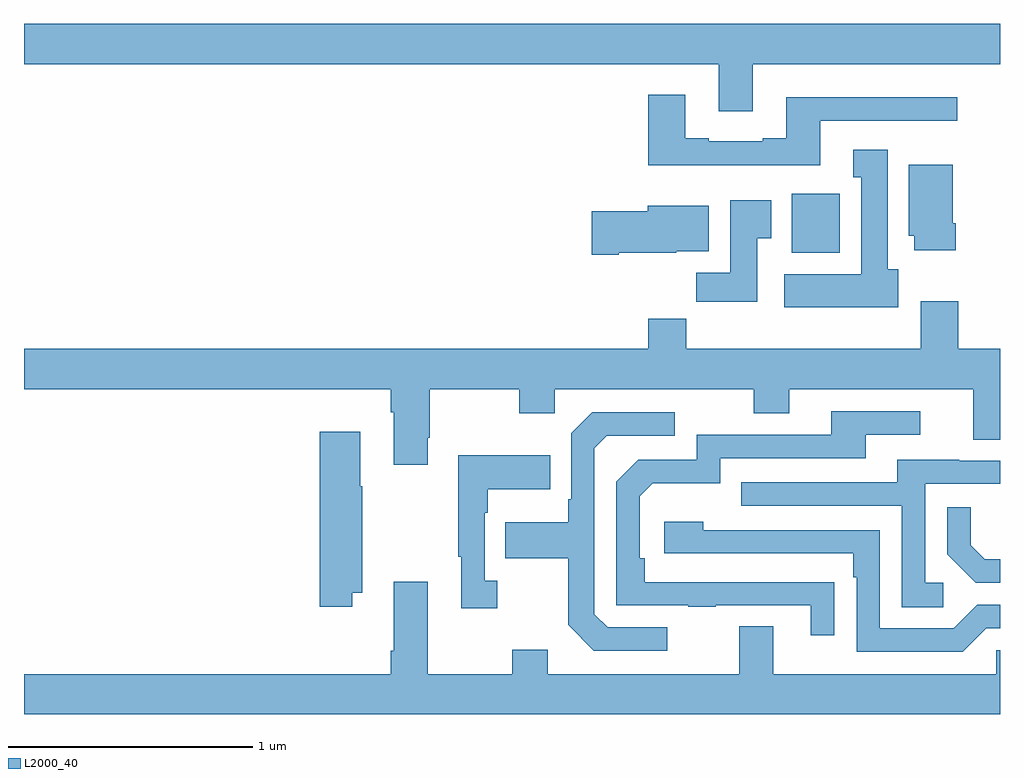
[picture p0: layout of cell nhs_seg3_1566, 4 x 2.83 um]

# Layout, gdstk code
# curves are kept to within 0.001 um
import gdstk
lib = gdstk.Library(unit=1e-6, precision=1e-09)
def R(c, l, rs):  # rectangles x0, y0, x1, y1
    for r in rs: c.add(gdstk.rectangle(r[:2], r[2:], *l))
def P(c, l, *ps):  # polygons
    for p in ps: c.add(gdstk.Polygon(p, *l))
L2000_40 = (2000, 40)

nhs_seg3_1566 = lib.new_cell('nhs_seg3_1566')
R(nhs_seg3_1566, L2000_40, [(194.147,734.774,194.344,735.016)])
P(nhs_seg3_1566, L2000_40, [(193.987,735.548),(195,735.548),(195,735.712),(191,735.712),(191,735.548),(193.847,735.548),(193.847,735.354),(193.987,735.354)],
  [(194.263,735.315),(194.824,735.315),(194.824,735.412),(194.123,735.412),(194.123,735.244),(194.027,735.244),(194.027,735.231),(193.807,735.231),(193.807,735.244),(193.711,735.244),(193.711,735.421),(193.559,735.421),(193.559,735.134),(194.263,735.134)],
  [(194.584,734.706),(194.539,734.706),(194.539,735.196),(194.399,735.196),(194.399,735.083),(194.432,735.083),(194.432,734.686),(194.115,734.686),(194.115,734.552),(194.584,734.552)],
  [(194.819,734.896),(194.806,734.896),(194.806,735.136),(194.627,735.136),(194.627,734.844),(194.648,734.844),(194.648,734.784),(194.819,734.784)],
  [(194.005,734.833),(194.062,734.833),(194.062,734.989),(193.895,734.989),(193.895,734.692),(193.756,734.692),(193.756,734.574),(194.005,734.574)],
  [(193.438,734.774),(193.674,734.774),(193.674,734.78),(193.807,734.78),(193.807,734.968),(193.556,734.968),(193.556,734.945),(193.326,734.945),(193.326,734.767),(193.438,734.767)],
  [(191,734.216),(192.503,734.216),(192.503,734.12),(192.515,734.12),(192.515,733.905),(192.655,733.905),(192.655,734.017),(192.663,734.017),(192.663,734.216),(193.03,734.216),(193.03,734.117),(193.176,734.117),(193.176,734.216),(193.99,734.216),(193.99,734.117),(194.137,734.117),(194.137,734.216),(194.891,734.216),(194.891,734.008),(195,734.008),(195,734.38),(194.828,734.38),(194.828,734.575),(194.675,734.575),(194.675,734.38),(193.715,734.38),(193.715,734.504),(193.559,734.504),(193.559,734.38),(191,734.38)],
  [(194.321,733.424),(193.544,733.425),(193.544,733.522),(193.524,733.522),(193.524,733.776),(193.577,733.829),(193.854,733.829),(193.854,733.932),(194.449,733.932),(194.449,734.028),(194.674,734.028),(194.674,734.124),(194.309,734.124),(194.309,734.028),(193.758,734.028),(193.758,733.926),(193.518,733.926),(193.428,733.836),(193.428,733.329),(193.723,733.329),(193.723,733.324),(193.835,733.324),(193.835,733.329),(194.225,733.329),(194.225,733.206),(194.321,733.206)],
  [(193.636,733.239),(193.392,733.239),(193.338,733.293),(193.338,733.974),(193.389,734.025),(193.666,734.025),(193.666,734.121),(193.329,734.121),(193.242,734.034),(193.242,733.765),(193.23,733.765),(193.23,733.669),(192.973,733.669),(192.973,733.522),(193.23,733.522),(193.23,733.249),(193.335,733.143),(193.636,733.143)],
  [(192.346,733.382),(192.387,733.382),(192.387,733.817),(192.379,733.817),(192.379,734.041),(192.212,734.041),(192.212,733.323),(192.346,733.323)],
  [(192.94,733.43),(192.888,733.43),(192.888,733.709),(192.901,733.709),(192.901,733.805),(193.157,733.805),(193.157,733.945),(192.78,733.945),(192.78,733.529),(192.791,733.529),(192.791,733.317),(192.94,733.317)],
  [(194.767,733.422),(194.694,733.422),(194.694,733.827),(195,733.827),(195,733.923),(194.833,733.923),(194.833,733.927),(194.579,733.927),(194.579,733.833),(193.939,733.833),(193.939,733.737),(194.598,733.737),(194.598,733.321),(194.767,733.321)],
  [(195,733.518),(194.938,733.518),(194.881,733.575),(194.881,733.732),(194.784,733.732),(194.784,733.538),(194.9,733.422),(195,733.422)],
  [(194.943,733.236),(195,733.236),(195,733.332),(194.907,733.332),(194.811,733.236),(194.508,733.236),(194.508,733.638),(193.784,733.638),(193.784,733.672),(193.623,733.672),(193.623,733.542),(194.399,733.542),(194.399,733.445),(194.412,733.445),(194.412,733.14),(194.847,733.14)],
  [(195,733.146),(194.985,733.146),(194.985,733.048),(194.071,733.048),(194.071,733.243),(193.931,733.243),(193.931,733.048),(193.147,733.048),(193.147,733.147),(193,733.147),(193,733.048),(192.655,733.048),(192.655,733.426),(192.515,733.426),(192.515,733.144),(192.503,733.144),(192.503,733.048),(191,733.048),(191,732.884),(195,732.884)])

lib.write_gds('nhs_seg3_1566.gds')
